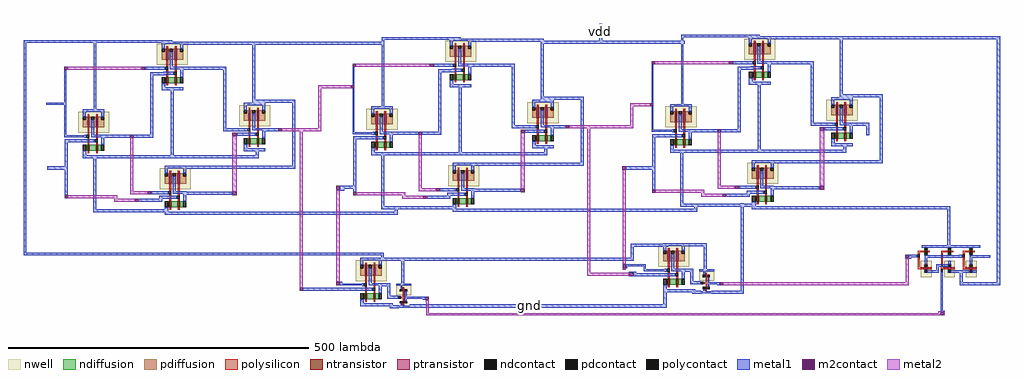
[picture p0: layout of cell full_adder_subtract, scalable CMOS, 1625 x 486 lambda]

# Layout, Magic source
magic
tech scmos
<< metal1 >>
rect 326 258 446 262
rect 1284 261 1289 290
rect 1681 264 1951 269
rect 326 -92 330 258
rect 702 255 924 260
rect 1186 256 1426 261
rect 363 155 396 158
rect 1728 104 1733 125
rect 365 47 399 52
rect 1328 47 1377 52
rect 852 15 879 20
rect 852 13 859 15
rect 846 12 859 13
rect 943 -23 948 -15
rect 1442 -18 1447 -10
rect 1071 -23 1447 -18
rect 590 -28 948 -23
rect 1336 -82 1399 -77
rect 326 -96 925 -92
rect 921 -103 925 -96
rect 1336 -100 1341 -82
rect 952 -105 1341 -100
rect 1328 -114 1361 -111
rect 1328 -117 1330 -114
rect 1358 -119 1361 -114
rect 1358 -122 1396 -119
rect 1333 -125 1345 -123
rect 1333 -130 1334 -125
rect 1340 -126 1345 -125
rect 1340 -130 1398 -126
rect 1333 -131 1398 -130
rect 852 -143 856 -140
rect 852 -146 892 -143
rect 1472 -144 1484 -141
rect 1480 -146 1484 -144
rect 790 -155 894 -150
rect 968 -168 995 -165
rect 990 -170 995 -168
rect 1390 -177 1396 -151
rect 1519 -155 1524 -9
rect 1569 -19 1868 -14
rect 1863 -82 1868 -19
rect 1793 -100 1794 -95
rect 1799 -99 1812 -95
rect 1799 -100 1803 -99
rect 1914 -100 1935 -96
rect 1793 -102 1803 -100
rect 1471 -160 1524 -155
rect 968 -183 1396 -177
rect 1852 -188 1856 -123
rect 1884 -141 1889 -122
rect 1946 -141 1951 264
rect 1884 -146 1951 -141
rect 1852 -191 1859 -188
rect 1857 -196 1859 -191
<< m2contact >>
rect 871 182 876 187
rect 1369 152 1374 157
rect 1228 116 1234 121
rect 749 111 755 116
rect 1322 47 1328 52
rect 846 13 852 20
rect 1323 -117 1328 -111
rect 1334 -130 1340 -125
rect 846 -146 852 -140
rect 1484 -146 1489 -141
rect 785 -155 790 -150
rect 995 -170 1000 -165
rect 1794 -100 1799 -95
rect 1852 -196 1857 -191
<< metal2 >>
rect 816 182 871 187
rect 816 116 821 182
rect 1335 152 1369 157
rect 1335 121 1340 152
rect 1234 116 1340 121
rect 755 111 821 116
rect 785 -150 790 111
rect 846 -140 852 13
rect 1264 -125 1269 116
rect 1323 -111 1328 47
rect 1323 -120 1328 -117
rect 1264 -130 1334 -125
rect 1794 -141 1799 -100
rect 1489 -146 1799 -141
rect 995 -174 1000 -170
rect 996 -192 1000 -174
rect 1848 -190 1856 -189
rect 1848 -191 1859 -190
rect 1848 -192 1852 -191
rect 996 -196 1852 -192
rect 1857 -196 1859 -191
use or_2_pr  or_2_pr_0 /home/rupakantani
transform 1 0 1848 0 1 -104
box -40 -28 70 25
use and_2_pr  and_2_pr_1 /home/rupakantani
transform 1 0 1439 0 1 -159
box -57 -1 36 83
use and_2_pr  and_2_pr_0
transform 1 0 935 0 1 -183
box -57 -1 36 83
use xor_pr_new  xor_pr_new_2 /home/rupakantani
transform 1 0 1401 0 1 78
box -30 -97 355 193
use xor_pr_new  xor_pr_new_1
transform 1 0 903 0 1 74
box -30 -97 355 193
use xor_pr_new  xor_pr_new_0
transform 1 0 423 0 1 69
box -30 -97 355 193
<< labels >>
rlabel metal1 1286 276 1286 276 1 vdd
rlabel metal1 1167 -180 1167 -180 1 gnd
<< end >>

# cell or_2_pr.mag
magic
tech scmos
<< nwell >>
rect -29 -28 -11 -1
rect 10 -28 28 -1
rect 46 -28 64 -1
<< ntransistor >>
rect -23 13 -17 16
rect 16 13 22 16
rect 52 13 58 16
<< ptransistor >>
rect -23 -15 -17 -12
rect 16 -15 22 -12
rect 52 -15 58 -12
<< ndiffusion >>
rect -23 17 -22 21
rect -18 17 -17 21
rect -23 16 -17 17
rect 16 17 17 21
rect 21 17 22 21
rect 16 16 22 17
rect 52 17 53 21
rect 57 17 58 21
rect 52 16 58 17
rect -23 12 -17 13
rect -23 8 -22 12
rect -18 8 -17 12
rect 16 12 22 13
rect 16 8 17 12
rect 21 8 22 12
rect 52 12 58 13
rect 52 8 53 12
rect 57 8 58 12
<< pdiffusion >>
rect -23 -11 -22 -7
rect -18 -11 -17 -7
rect -23 -12 -17 -11
rect 16 -11 17 -7
rect 21 -11 22 -7
rect 16 -12 22 -11
rect 52 -11 53 -7
rect 57 -11 58 -7
rect 52 -12 58 -11
rect -23 -17 -17 -15
rect -23 -21 -22 -17
rect -18 -21 -17 -17
rect 16 -17 22 -15
rect 16 -21 17 -17
rect 21 -21 22 -17
rect 52 -17 58 -15
rect 52 -21 53 -17
rect 57 -21 58 -17
<< ndcontact >>
rect -22 17 -18 21
rect 17 17 21 21
rect 53 17 57 21
rect -22 8 -18 12
rect 17 8 21 12
rect 53 8 57 12
<< pdcontact >>
rect -22 -11 -18 -7
rect 17 -11 21 -7
rect 53 -11 57 -7
rect -22 -21 -18 -17
rect 17 -21 21 -17
rect 53 -21 57 -17
<< polysilicon >>
rect -34 13 -23 16
rect -17 13 -14 16
rect 5 13 16 16
rect 22 13 25 16
rect 41 13 52 16
rect 58 13 61 16
rect -34 9 -31 13
rect -34 -12 -31 5
rect 5 -12 8 13
rect 41 9 44 13
rect 41 -12 44 5
rect -34 -15 -23 -12
rect -17 -15 -11 -12
rect 4 -15 16 -12
rect 22 -15 28 -12
rect 41 -15 52 -12
rect 58 -15 64 -12
rect 4 -20 8 -19
<< polycontact >>
rect -35 5 -31 9
rect 40 5 44 9
rect 4 -19 8 -15
<< metal1 >>
rect -27 21 70 25
rect -40 5 -35 9
rect 35 8 40 9
rect -22 5 40 8
rect -22 4 39 5
rect 53 4 70 8
rect -22 -7 -18 4
rect 17 -7 21 -1
rect -3 -11 17 -7
rect 53 -7 57 4
rect -3 -17 1 -11
rect -23 -21 -22 -17
rect -18 -21 1 -17
rect 4 -23 8 -19
rect 16 -21 17 -17
rect 21 -21 53 -17
rect 57 -21 64 -17
<< end >>

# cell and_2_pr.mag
magic
tech scmos
<< metal1 >>
rect -18 78 24 83
rect -18 36 1 41
rect 19 38 24 78
rect -4 20 1 36
rect -4 15 13 20
rect -18 4 5 7
rect -18 2 15 4
rect 0 -1 15 2
use nand_unlab_pr  nand_unlab_pr_0
transform 1 0 -33 0 1 53
box -24 -51 28 30
use inverter_unlab_pr  inverter_unlab_pr_0
transform 1 0 20 0 1 20
box -9 -20 16 20
<< end >>

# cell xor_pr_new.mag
magic
tech scmos
<< metal1 >>
rect 19 189 150 193
rect -30 35 -27 144
rect 19 74 23 189
rect 163 186 288 191
rect 98 144 99 149
rect 105 144 138 149
rect 163 144 240 149
rect 113 135 139 140
rect 113 36 118 135
rect -30 32 7 35
rect 32 31 80 36
rect 85 31 118 36
rect -29 23 9 28
rect -29 -65 -24 23
rect 147 2 152 115
rect 235 47 240 144
rect 283 94 288 186
rect 283 89 355 94
rect 283 86 288 89
rect 235 42 276 47
rect 300 42 332 47
rect 257 34 277 39
rect 289 2 294 13
rect 18 -88 23 2
rect 32 -3 294 2
rect 350 -16 355 89
rect 168 -21 355 -16
rect 115 -63 143 -58
rect 168 -64 250 -59
rect 128 -71 145 -66
rect 93 -76 133 -71
rect 18 -93 141 -88
<< m2contact >>
rect -30 144 -25 149
rect 99 144 105 149
rect 80 31 85 36
rect 250 34 257 39
rect -29 -70 -24 -65
rect 109 -63 115 -58
rect 250 -65 257 -59
rect 88 -76 93 -71
<< metal2 >>
rect -25 144 99 149
rect 80 -58 85 31
rect 80 -63 109 -58
rect 250 -59 257 34
rect -24 -70 58 -65
rect 53 -71 58 -70
rect 53 -76 88 -71
rect 93 -76 95 -71
use nand_unlab_pr  nand_unlab_pr_3
transform 1 0 285 0 1 59
box -24 -51 28 30
use nand_unlab_pr  nand_unlab_pr_2
transform 1 0 153 0 1 -46
box -24 -51 28 30
use nand_unlab_pr  nand_unlab_pr_1
transform 1 0 148 0 1 161
box -24 -51 28 30
use nand_unlab_pr  nand_unlab_pr_0
transform 1 0 17 0 1 48
box -24 -51 28 30
<< end >>

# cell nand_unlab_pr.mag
magic
tech scmos
<< nwell >>
rect -24 -9 28 26
<< ntransistor >>
rect -8 -39 -5 -29
rect 6 -39 9 -29
<< ptransistor >>
rect -8 0 -5 18
rect 6 0 9 18
<< ndiffusion >>
rect -10 -39 -8 -29
rect -5 -39 6 -29
rect 9 -39 15 -29
<< pdiffusion >>
rect -11 13 -8 18
rect -16 0 -8 13
rect -5 13 -2 18
rect 3 13 6 18
rect -5 0 6 13
rect 9 13 15 18
rect 9 0 20 13
<< ndcontact >>
rect -16 -39 -10 -29
rect 15 -39 20 -29
<< pdcontact >>
rect -16 13 -11 18
rect -2 13 3 18
rect 15 13 20 18
<< polysilicon >>
rect -8 18 -5 22
rect 6 18 9 22
rect -8 -12 -5 0
rect -8 -29 -5 -17
rect 6 -20 9 0
rect 6 -29 9 -25
rect -8 -43 -5 -39
rect 6 -43 9 -39
<< polycontact >>
rect -10 -17 -5 -12
rect 4 -25 9 -20
<< metal1 >>
rect -16 26 20 30
rect -16 18 -11 26
rect 15 18 20 26
rect -2 -12 3 13
rect -13 -17 -10 -12
rect -2 -16 20 -12
rect -13 -25 4 -20
rect 15 -29 20 -16
rect -16 -46 -10 -39
rect -16 -51 20 -46
<< end >>

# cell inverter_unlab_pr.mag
magic
tech scmos
<< nwell >>
rect -9 1 16 17
<< ntransistor >>
rect 2 -13 4 -9
<< ptransistor >>
rect 2 7 4 11
<< ndiffusion >>
rect 1 -13 2 -9
rect 4 -13 5 -9
<< pdiffusion >>
rect 1 7 2 11
rect 4 7 5 11
<< ndcontact >>
rect -3 -13 1 -9
rect 5 -13 9 -9
<< pdcontact >>
rect -3 7 1 11
rect 5 7 9 11
<< polysilicon >>
rect 2 11 4 14
rect 2 -2 4 7
rect -2 -4 4 -2
rect 2 -9 4 -4
rect 2 -16 4 -13
<< polycontact >>
rect -6 -5 -2 -1
<< metal1 >>
rect -9 17 16 20
rect -2 11 1 17
rect -8 -5 -6 -1
rect 5 -2 8 7
rect 5 -5 16 -2
rect 5 -9 8 -5
rect -2 -17 1 -13
rect -9 -20 16 -17
<< end >>
